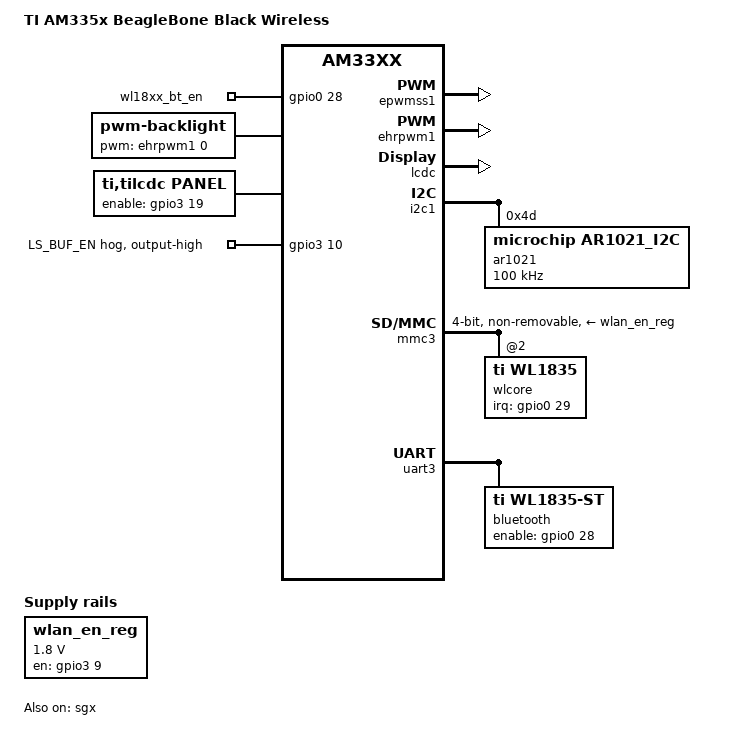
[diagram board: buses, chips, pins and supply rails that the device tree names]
/*
 * Copyright (C) 2012 Texas Instruments Incorporated - http://www.ti.com/
 *
 * This program is free software; you can redistribute it and/or modify
 * it under the terms of the GNU General Public License version 2 as
 * published by the Free Software Foundation.
 */
/dts-v1/;

#include "am33xx.dtsi"
#include "am335x-bone-common.dtsi"
#include "am335x-boneblack-common.dtsi"
#include <dt-bindings/interrupt-controller/irq.h>
#include "bbb-i2c1.dtsi"
#include "bbb-i2c2.dtsi"
#include "bbb-uart4.dtsi"

/* #include "am335x-bone-jtag.dtsi" */

/ {
	model = "TI AM335x BeagleBone Black Wireless";
	compatible = "ti,am335x-bone-black-wireless", "ti,am335x-bone-black", "ti,am335x-bone", "ti,am33xx";

	wlan_en_reg: fixedregulator@2 {
		compatible = "regulator-fixed";
		regulator-name = "wlan-en-regulator";
		regulator-min-microvolt = <1800000>;
		regulator-max-microvolt = <1800000>;
		startup-delay-us= <70000>;

		/* WL_EN */
		gpio = <&gpio3 9 0>;
		enable-active-high;
	};
	
	leds {
		pinctrl-names = "default";
		pinctrl-0 = <&wl18xx_pins>;
		compatible = "gpio-leds";

		wl18xx_bt_en {
			label = "wl18xx_bt_en";
			gpios = <&gpio0 28 GPIO_ACTIVE_HIGH>;
			default-state = "off";
		};
	};

	btwilink {
		compatible = "btwilink";
	};
	
};

&ocp {
    0x0A0 { status = "disabled"; };	/* lcd: lcd_data0 */
    0x0A4 { status = "disabled"; };	/* lcd: lcd_data1 */
	0x0A8 { status = "disabled"; };	/* lcd: lcd_data2 */
	0x0AC { status = "disabled"; };	/* lcd: lcd_data3 */
	0x0B0 { status = "disabled"; };	/* lcd: lcd_data4 */
	0x0B4 { status = "disabled"; };	/* lcd: lcd_data5 */
	0x0B8 { status = "disabled"; };	/* lcd: lcd_data6 */
	0x0BC { status = "disabled"; };	/* lcd: lcd_data7 */
	0x0C0 { status = "disabled"; };	/* lcd: lcd_data8 */
	0x0C4 { status = "disabled"; };	/* lcd: lcd_data9 */
	0x0C8 { status = "disabled"; };	/* lcd: lcd_data10 */
	0x0CC { status = "disabled"; };	/* lcd: lcd_data11 */
	0x0D0 { status = "disabled"; };	/* lcd: lcd_data12 */
	0x0D4 { status = "disabled"; };	/* lcd: lcd_data13 */
	0x0D8 { status = "disabled"; };	/* lcd: lcd_data14 */
	0x0DC { status = "disabled"; };	/* lcd: lcd_data15 */

	0x0E0 { status = "disabled"; };	/* lcd: lcd_vsync */
	0x0E4 { status = "disabled"; };	/* lcd: lcd_hsync */
	0x0E8 { status = "disabled"; };	/* lcd: lcd_pclk */
	Ox0EC { status = "disabled"; };	/* lcd: lcd_ac_bias_en */

	0x1A4 { status = "disabled"; };	/* lcd: gpio3_19 DISPEN */

	0x048 { status = "disabled"; };	/* pwm: ehrpwm1a PWM_BL */

	0x158 { status = "disabled"; };	/* i2c1_sda */
	0x15C { status = "disabled"; };	/* i2c1_scl */
    0x180 { status = "disabled"; }; /* touch interrupt on gpio0_14 */
};

&sgx {
	status = "okay";
};

&am33xx_pinmux {
	bt_pins: pinmux_bt_pins {
		pinctrl-single,pins = <
			AM33XX_IOPAD(0x928, PIN_OUTPUT_PULLUP | MUX_MODE7)	/* gmii1_txd0.gpio0_28 - BT_EN */
		>;
	};

	mmc3_pins: pinmux_mmc3_pins {
		pinctrl-single,pins = <
			AM33XX_IOPAD(0x93c, PIN_INPUT_PULLUP | MUX_MODE6 ) /* (L15) gmii1_rxd1.mmc2_clk */
			AM33XX_IOPAD(0x914, PIN_INPUT_PULLUP | MUX_MODE6 ) /* (J16) gmii1_txen.mmc2_cmd */
			AM33XX_IOPAD(0x918, PIN_INPUT_PULLUP | MUX_MODE5 ) /* (J17) gmii1_rxdv.mmc2_dat0 */
			AM33XX_IOPAD(0x91c, PIN_INPUT_PULLUP | MUX_MODE5 ) /* (J18) gmii1_txd3.mmc2_dat1 */
			AM33XX_IOPAD(0x920, PIN_INPUT_PULLUP | MUX_MODE5 ) /* (K15) gmii1_txd2.mmc2_dat2 */
			AM33XX_IOPAD(0x908, PIN_INPUT_PULLUP | MUX_MODE5 ) /* (H16) gmii1_col.mmc2_dat3 */
		>;
	};

	uart3_pins: pinmux_uart3_pins {
		pinctrl-single,pins = <
			AM33XX_IOPAD(0x934, PIN_INPUT_PULLUP | MUX_MODE1)	/* gmii1_rxd3.uart3_rxd */
			AM33XX_IOPAD(0x938, PIN_OUTPUT_PULLDOWN | MUX_MODE1)	/* gmii1_rxd2.uart3_txd */
			AM33XX_IOPAD(0x948, PIN_INPUT | MUX_MODE3)		/* mdio_data.uart3_ctsn */
			AM33XX_IOPAD(0x94c, PIN_OUTPUT_PULLDOWN | MUX_MODE3)	/* mdio_clk.uart3_rtsn */
		>;
	};

	wl18xx_pins: pinmux_wl18xx_pins {
		pinctrl-single,pins = <
			AM33XX_IOPAD(0x92c, PIN_OUTPUT_PULLDOWN | MUX_MODE7)	/* gmii1_txclk.gpio3_9 WL_EN */
			AM33XX_IOPAD(0x944, PIN_INPUT_PULLDOWN | MUX_MODE7)	/* rmii1_refclk.gpio0_29 WL_IRQ */
			AM33XX_IOPAD(0x930, PIN_OUTPUT_PULLUP | MUX_MODE7)	/* gmii1_rxclk.gpio3_10 LS_BUF_EN */
		>;
	};
	
	lcd_pins: pinmux_lcd_pins {
        pinctrl-single,pins = <
			0x0a0 (PIN_OUTPUT | MUX_MODE0)            /* lcd_data0 */
			0x0a4 (PIN_OUTPUT | MUX_MODE0)            /* lcd_data1 */
			0x0a8 (PIN_OUTPUT | MUX_MODE0)            /* lcd_data2 */
			0x0ac (PIN_OUTPUT | MUX_MODE0)            /* lcd_data3 */
			0x0b0 (PIN_OUTPUT | MUX_MODE0)            /* lcd_data4 */
			0x0b4 (PIN_OUTPUT | MUX_MODE0)            /* lcd_data5 */
			0x0b8 (PIN_OUTPUT | MUX_MODE0)            /* lcd_data6 */
			0x0bc (PIN_OUTPUT | MUX_MODE0)            /* lcd_data7 */
			0x0c0 (PIN_OUTPUT | MUX_MODE0)            /* lcd_data8 */
			0x0c4 (PIN_OUTPUT | MUX_MODE0)            /* lcd_data9 */
			0x0c8 (PIN_OUTPUT | MUX_MODE0)            /* lcd_data10 */
			0x0cc (PIN_OUTPUT | MUX_MODE0)            /* lcd_data11 */
			0x0d0 (PIN_OUTPUT | MUX_MODE0)            /* lcd_data12 */
			0x0d4 (PIN_OUTPUT | MUX_MODE0)            /* lcd_data13 */
			0x0d8 (PIN_OUTPUT | MUX_MODE0)            /* lcd_data14 */
			0x0dc (PIN_OUTPUT | MUX_MODE0)            /* lcd_data15 */
			0x0e0 (PIN_OUTPUT | MUX_MODE0)            /* lcd_vsync */
			0x0e4 (PIN_OUTPUT | MUX_MODE0)            /* lcd_hsync */
			0x0e8 (PIN_OUTPUT | MUX_MODE0)            /* lcd_pclk */
			0x0ec (PIN_OUTPUT | MUX_MODE0)            /* lcd_ac_bias_en */
			/* LCD enable */
			0x1a4 (PIN_OUTPUT | MUX_MODE7)            /* P9.27, gpio3_19 */
		>;
	};

	backlight_pin: backlight_pin {
		pinctrl-single,pins = <
			0x048 (PIN_OUTPUT | MUX_MODE6)    /* P9.14, gpio1[18]/ehrpwm1A */
		>;
	};

	ar1021_i2c_pin: ar1021_i2c_pin {
		pinctrl-single,pins = <
			0x158 (PIN_INPUT_PULLUP | MUX_MODE2)    /*  */
			0x15C (PIN_INPUT_PULLUP | MUX_MODE2)    /*  */
		>;
	};
	
	edt_ft5x06_pins: pinmux_edt_ft5x06_pins {
        pinctrl-single,pins = <
            0x180 (PIN_INPUT_PULLUP | MUX_MODE7)
        >;
    };
};

&epwmss1 {
	status = "okay";
};

&ehrpwm1 {
	pinctrl-names = "default";
	pinctrl-0 = <&backlight_pin>;
	status = "okay";
};

&lcdc {
	status = "okay";
};

&i2c1 {
    status = "okay";
	ar1021: ar1021_i2c@4d {
		#address-cells = <1>;
		#size-cells = <0>;
		compatible = "microchip,ar1021_i2c";
		reg = <0x4d>;
		pinctrl-names = "default";
		pinctrl-0 = <&ar1021_i2c_pin>;
		
		// configuration start
        clock-frequency = <100000>;
		
		polytouch: edt-ft5x06@38 {
				compatible = "edt,edt-ft5x06";
				reg = <0x38>;
				pinctrl-names = "default";
				pinctrl-0 = <&edt_ft5x06_pins>;
				interrupt-parent = <&gpio0>;
				interrupts = <14 2>;

				touchscreen-size-y = <800>;
				touchscreen-size-x = <480>;

				touchscreen-swapped-x-y;
				touchscreen-inverted-x;
        };
	};
};

/ {
	
	#address-cells = <1>;
	#size-cells = <1>;
	backlight {
		status = "okay";
		compatible = "pwm-backlight";
		pwms = <&ehrpwm1 0 500000 0>;
		brightness-levels = <
			0  1  2  3  4  5  6  7  8  9
			10 11 12 13 14 15 16 17 18 19
			20 21 22 23 24 25 26 27 28 29
			30 31 32 33 34 35 36 37 38 39
			40 41 42 43 44 45 46 47 48 49
			50 51 52 53 54 55 56 57 58 59
			60 61 62 63 64 65 66 67 68 69
			70 71 72 73 74 75 76 77 78 79
			80 81 82 83 84 85 86 87 88 89
			90 91 92 93 94 95 96 97 98 99
			100
		>;
		default-brightness-level = <100>;
	};

	panel {
		#address-cells = <1>;
		#size-cells = <1>;

		status = "okay";
		compatible = "ti,tilcdc,panel";
		pinctrl-names = "default";
		pinctrl-0 = <&lcd_pins>;
		enable-gpios = <&gpio3 19 GPIO_ACTIVE_HIGH>;

		panel-info {
			ac-bias           = <255>;
			ac-bias-intrpt    = <0>;
			dma-burst-sz      = <16>;
			bpp               = <16>;
			fdd               = <0x80>;
			sync-edge         = <0>;
			sync-ctrl         = <1>;
			raster-order      = <0>;
			fifo-th           = <0>;
		};

		display-timings {
			native-mode = <&timing0>;
			timing0: 800x480 {
				clock-frequency = <30000000>;
				hactive = <800>;
				vactive = <480>;
				hfront-porch = <40>;
				hback-porch = <40>;
				hsync-len = <48>;
				vback-porch = <30>;
				vfront-porch = <13>;
				vsync-len = <3>;
				hsync-active = <0>;
				vsync-active = <0>;
				de-active = <1>;
				pixelclk-active = <0>;
			};
		};
    };
    
	fb {
		compatible = "ti,am33xx-tilcdc";
		reg = <0x4830e000 0x1000>;
		interrupt-parent = <&intc>;
		interrupts = <36>;
		ti,hwmods = "lcdc";
    };
};

&rtc {
	system-power-controller;
};

&mac {
	status = "disabled";
};

&mmc3 {
	dmas = <&edma_xbar 12 0 1
		&edma_xbar 13 0 2>;
	dma-names = "tx", "rx";
	status = "okay";
	vmmc-supply = <&wlan_en_reg>;
	bus-width = <4>;
	non-removable;
	cap-power-off-card;
	ti,needs-special-hs-handling;
	keep-power-in-suspend;
	pinctrl-names = "default";
	pinctrl-0 = <&mmc3_pins &wl18xx_pins>;

	#address-cells = <1>;
	#size-cells = <0>;
	wlcore: wlcore@2 {
		compatible = "ti,wl1835";
		reg = <2>;
		interrupt-parent = <&gpio0>;
		interrupts = <29 IRQ_TYPE_EDGE_RISING>;
	};
};

&uart3 {
	pinctrl-names = "default";
	pinctrl-0 = <&uart3_pins &bt_pins>;
	status = "okay";

	bluetooth {
		compatible = "ti,wl1835-st";
		enable-gpios = <&gpio0 28 GPIO_ACTIVE_HIGH>;
	};
};

&gpio3 {
	ls_buf_en {
		gpio-hog;
		gpios = <10 GPIO_ACTIVE_HIGH>;
		output-high;
		line-name = "LS_BUF_EN";
	};
};
